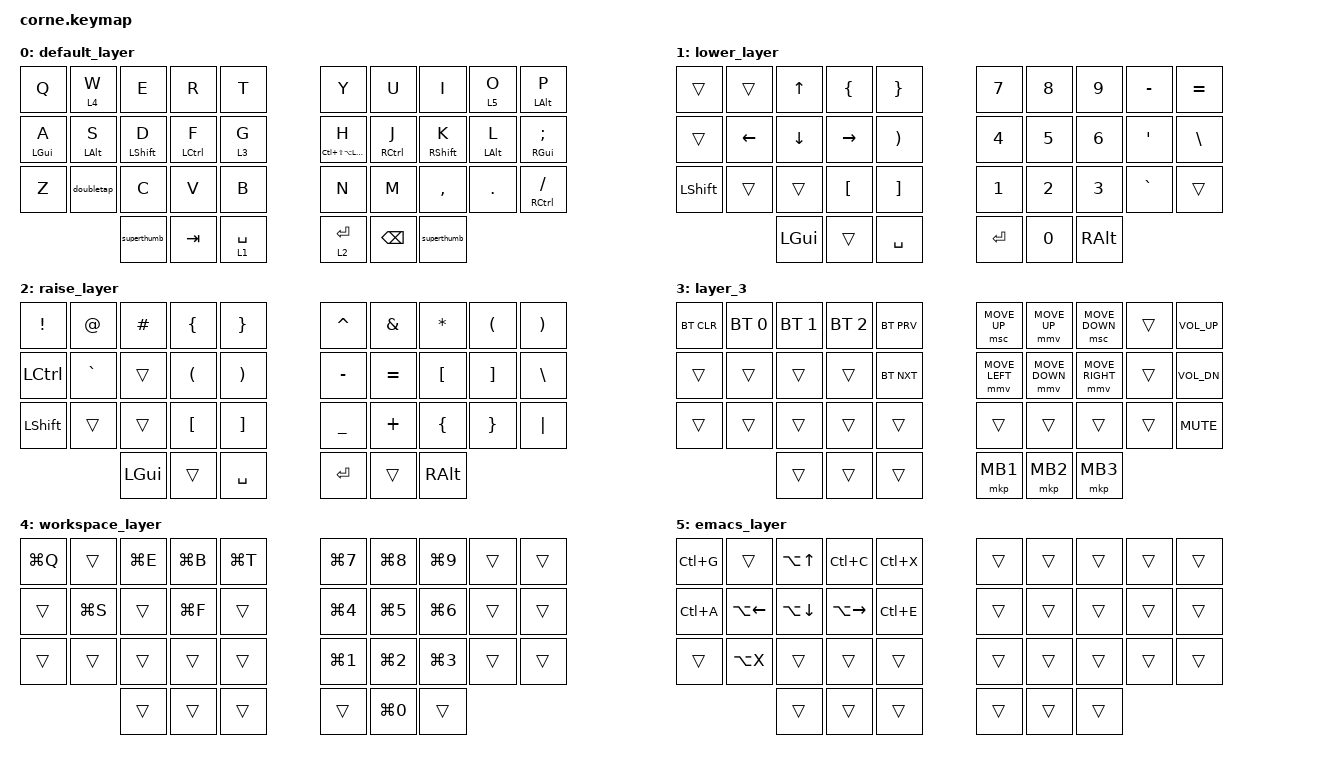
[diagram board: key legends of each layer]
/*
 * Copyright (c) 2020 The ZMK Contributors
 *
 * SPDX-License-Identifier: MIT
 */

#include <dt-bindings/zmk/mouse.h>
#include <behaviors.dtsi>
#include <dt-bindings/zmk/bt.h>
#include <dt-bindings/zmk/keys.h>

#define HYPR LC(LS(LA(LGUI)))

&mt {
    flavor = "tap-preferred";
    quick-tap-ms = <200>;
};

/ {
    chosen { zmk,matrix_transform = &five_column_transform; };

    combos {
        compatible = "zmk,combos";

        /* Key position reference for 5-column Corne:
         * Left:  0  1  2  3  4     Right:  5  6  7  8  9
         *       10 11 12 13 14            15 16 17 18 19  
         *       20 21 22 23 24            25 26 27 28 29
         *          30 31 32                  33 34 35
         */

        combo_esc {
            timeout-ms = <50>;
            key-positions = <0 1>;
            bindings = <&gresc>;
        };

        combo_caps {
            timeout-ms = <50>;
            key-positions = <12 17>;
            bindings = <&caps_word>;
        };

        combo_undo {
            timeout-ms = <50>;
            key-positions = <20 21>;
            bindings = <&kp LC(Z)>;
        };

        combo_redo {
            timeout-ms = <50>;
            key-positions = <28 29>;
            bindings = <&kp LC(Y)>;
        };

    };

    behaviors {
        doubletap: doubletap {
            compatible = "zmk,behavior-tap-dance";
            label = "DOUBLETAP";
            bindings = <&kp X>, <&kp LA(X)>;
            #binding-cells = <0>;
        };

        stickyctrl: stickyctrl {
            compatible = "zmk,behavior-tap-dance";
            label = "STICKYCTRL";
            bindings = <&sk LCTRL>, <&kp LC(C)>;
            #binding-cells = <0>;
        };

        superthumb: superthumb {
            compatible = "zmk,behavior-tap-dance";
            label = "SUPERTHUMB";
            bindings = <&kp LA(X)>, <&kp LA(LS(NUMBER_7))>;

            #binding-cells = <0>;
        };

    };

    keymap {
        compatible = "zmk,keymap";

        default_layer {
            // -----------------------------------------------------------------------------------------
            // |  TAB |  Q  |  W  |  E  |  R  |  T  |   |  Y  |  U   |  I  |  O  |  P  | BKSP |
            // | CTRL |  A  |  S  |  D  |  F  |  G  |   |  H  |  J   |  K  |  L  |  ;  |  '   |
            // | SHFT |  Z  |  X  |  C  |  V  |  B  |   |  N  |  M   |  ,  |  .  |  /  | ESC  |
            //                    | GUI | LWR | SPC |   | ENT | RSE  | ALT |

            bindings = <
  &kp Q           &lt 4 W         &kp E             &kp R        &kp T        &kp Y        &kp U              &kp I                &lt 5 O          &mt LALT P
  &mt LEFT_GUI A  &mt LEFT_ALT S  &mt LEFT_SHIFT D  &mt LCTRL F  &lt 3 G      &mt HYPR H  &mt RCTRL J        &mt RIGHT_SHIFT K    &mt LALT L       &mt RIGHT_GUI SEMICOLON
  &kp Z           &doubletap      &kp C             &kp V        &kp B        &kp N        &kp M              &kp COMMA            &kp DOT          &mt RCTRL FSLH
                                  &superthumb         &kp TAB    &lt 1 SPACE    &lt 2 ENTER  &kp BACKSPACE      &superthumb
            >;
        };

        lower_layer {
            // -----------------------------------------------------------------------------------------
            // |  TAB |  1  |  2  |  3  |  4  |  5  |   |  6  |  7  |  8  |  9  |  0  | BKSP |
            // | BTCLR| BT1 | BT2 | BT3 | BT4 | BT5 |   | LFT | DWN |  UP | RGT |     |      |
            // | SHFT |     |     |     |     |     |   |     |     |     |     |     |      |
            //                    | GUI |     | SPC |   | ENT |     | ALT |

            bindings = <
  &trans     &trans          &kp UP_ARROW    &kp LEFT_BRACE    &kp RIGHT_BRACE          &kp NUMBER_7  &kp NUMBER_8  &kp NUMBER_9  &kp MINUS         &kp EQUAL
  &trans     &kp LEFT_ARROW  &kp DOWN_ARROW  &kp RIGHT         &kp RIGHT_PARENTHESIS    &kp NUMBER_4  &kp NUMBER_5  &kp NUMBER_6  &kp SINGLE_QUOTE  &kp BACKSLASH
  &kp LSHFT  &trans          &trans          &kp LEFT_BRACKET  &kp RIGHT_BRACKET        &kp NUMBER_1  &kp NUMBER_2  &kp NUMBER_3  &kp GRAVE         &trans
                             &kp LGUI        &trans            &kp SPACE                &kp RET       &kp NUMBER_0  &kp RALT
            >;
        };

        raise_layer {
            // -----------------------------------------------------------------------------------------
            // |  TAB |  !  |  @  |  #  |  $  |  %  |   |  ^  |  &  |  *  |  (  |  )  | BKSP |
            // | CTRL |     |     |     |     |     |   |  -  |  =  |  [  |  ]  |    |  `   |
            // | SHFT |     |     |     |     |     |   |  _  |  +  |  {  |  }  | "|" |  ~   |
            //                    | GUI |     | SPC |   | ENT |     | ALT |

            bindings = <
  &kp EXCL   &kp AT      &kp HASH  &kp LEFT_BRACE        &kp RIGHT_BRACE          &kp CARET  &kp AMPS   &kp ASTRK  &kp LPAR  &kp RPAR
  &kp LCTRL  &kp GRAVE   &trans    &kp LEFT_PARENTHESIS  &kp RIGHT_PARENTHESIS    &kp MINUS  &kp EQUAL  &kp LBKT   &kp RBKT  &kp BSLH
  &kp LSHFT  &trans      &trans    &kp LEFT_BRACKET      &kp RIGHT_BRACKET        &kp UNDER  &kp PLUS   &kp LBRC   &kp RBRC  &kp PIPE
                         &kp LGUI  &trans                &kp SPACE                &kp RET    &trans     &kp RALT
            >;
        };

        layer_3 {
            bindings = <
  &bt BT_CLR  &bt BT_SEL 0  &bt BT_SEL 1  &bt BT_SEL 2  &bt BT_PRV    &msc MOVE_UP    &mmv MOVE_UP    &msc MOVE_DOWN   &trans  &kp C_VOL_UP
  &trans      &trans        &trans        &trans        &bt BT_NXT    &mmv MOVE_LEFT  &mmv MOVE_DOWN  &mmv MOVE_RIGHT  &trans  &kp C_VOL_DN
  &trans      &trans        &trans        &trans        &trans        &trans          &trans          &trans           &trans  &kp C_MUTE
                            &trans        &trans        &trans        &mkp MB1        &mkp MB2        &mkp MB3
            >;
        };

        workspace_layer {
            // Hold W = Desktop Control Layer
            // Left hand: app shortcuts | Right hand: workspace switching
            // Q=kill  W=LAYER  E=files  R=browser  T=float
            // A=trans S=screenshot D=trans F=fullscreen G=trans
            bindings = <
  &kp LG(Q)  &trans  &kp LG(E)  &kp LG(B)  &kp LG(T)    &kp LG(N7)  &kp LG(N8)  &kp LG(N9)  &trans  &trans
  &trans     &kp LG(S)  &trans  &kp LG(F)  &trans          &kp LG(N4)  &kp LG(N5)  &kp LG(N6)  &trans  &trans
  &trans     &trans  &trans     &trans     &trans          &kp LG(N1)  &kp LG(N2)  &kp LG(N3)  &trans  &trans
                     &trans     &trans     &trans          &trans      &kp LG(N0)  &trans
            >;
        };

        emacs_layer {
            // Hold O = Emacs Layer
            // Left: C-g(quit) | M-arrows(word nav) | C-a/C-e(BOL/EOL) | C-x/C-c(prefix)
            // Right: M-x(exec)
            bindings = <
  &kp LC(G)  &trans        &kp LA(UP)    &kp LC(C)      &kp LC(X)     &trans  &trans  &trans  &trans  &trans
  &kp LC(A)  &kp LA(LEFT)  &kp LA(DOWN)  &kp LA(RIGHT)  &kp LC(E)     &trans  &trans  &trans  &trans  &trans
  &trans     &kp LA(X)     &trans        &trans         &trans        &trans  &trans  &trans  &trans  &trans
                           &trans        &trans         &trans        &trans  &trans  &trans
            >;
        };
    };
};
